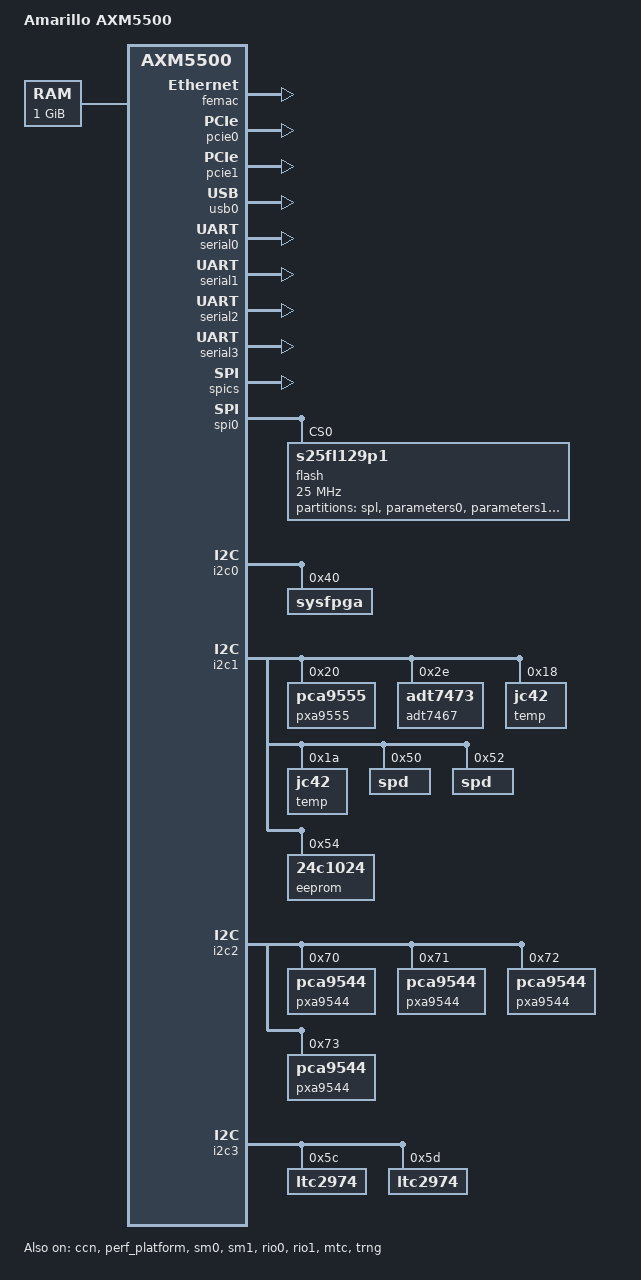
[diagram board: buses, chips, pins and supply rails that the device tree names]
/*
 * arch/arm/boot/dts/axm5508-amarillo.dts
 *
 * Copyright (C) 2013 LSI
 *
 * This program is free software; you can redistribute it and/or modify
 * it under the terms of the GNU General Public License as published by
 * the Free Software Foundation; either version 2 of the License, or
 * (at your option) any later version.
 */

/dts-v1/;

/memreserve/ 0x00000000 0x00400000;

/include/ "axm55xx.dtsi"
/include/ "axm5508-cpus.dtsi"

/ {
	model = "Amarillo AXM5500";
	compatible = "lsi,axm5500-amarillo", "lsi,axm5500";

	memory {
		device_type = "memory";
		reg = <0 0x00000000 0 0x40000000>;
	};
};

&femac {
	status = "okay";
	mdio-clock-offset = <0x1c>;
	mdio-clock-period = <0xf0>;
};

&ccn {
	status = "okay";
};

&perf_platform {
	status = "okay";
};

&sm0 {
	status = "okay";
};

&sm1 {
	status = "okay";
};

&pcie0 {
	status = "okay";
};

&pcie1 {
	status = "okay";
};

&rio0 {
	status = "okay";
};

&rio1 {
	status = "okay";
};

&usb0 {
	status = "okay";
};

&mtc {
	status = "okay";
};

&trng {
	status = "okay";
};

&serial0 {
	status = "okay";
};

&serial1 {
	status = "okay";
};

&serial2 {
	status = "okay";
};

&serial3 {
	status = "okay";
};

&gpio0 {
	status = "okay";
};

&gpio1 {
	status = "okay";
};

&spics {
	status = "okay";
};

&spi0 {
	status = "okay";

	flash@0 {
		#address-cells = <1>;
		#size-cells = <1>;
		compatible = "s25fl129p1";
		reg = <0x0>;
		spi-max-frequency = <25000000>;
		pl022,com-mode = <0>;

		partition@0 {
			label = "spl";
			reg = <0x0 0x40000>;
		};
		partition@40000 {
			label = "parameters0";
			reg = <0x40000 0x10000>;
		};
		partition@50000 {
			label = "parameters1";
			reg = <0x50000 0x10000>;
		};
		partition@60000 {
			label = "env0";
			reg = <0x60000 0x10000>;
		};
		partition@70000 {
			label = "env1";
			reg = <0x70000 0x10000>;
		};
		partition@100000 {
			label = "u-boot0";
			reg = <0x100000 0x200000>;
		};
		partition@300000 {
			label = "u-boot1";
			reg = <0x300000 0x200000>;
		};
	};
};

&i2c0 {
	status = "okay";

	sysfpga@40 {
		compatible = "sysfpga";
		reg = <0x40>;
	};
};

&i2c1 {
	status = "okay";

	pxa9555@20 {
		compatible = "pca9555";
		reg = <0x20>;
	};

	adt7467@2e {
		compatible = "adt7473";
		reg = <0x2e>;
	};

	temp@18 {
		compatible = "jc42";
		reg = <0x18>;
	};

	temp@1a {
		compatible = "jc42";
		reg = <0x1a>;
	};

	spd@50 {
		compatible = "spd";
		reg = <0x50>;
	};

	spd@52 {
		compatible = "spd";
		reg = <0x52>;
	};

	eeprom@54 {
		compatible = "24c1024";
		reg = <0x54>;
		pagesize = <128>;
	};
};

&i2c2 {
	status = "okay";

	pxa9544@70 {
		compatible = "pca9544";
		reg = <0x70>;
	};

	pxa9544@71 {
		compatible = "pca9544";
		reg = <0x71>;
	};

	pxa9544@72 {
		compatible = "pca9544";
		reg = <0x72>;
	};

	pxa9544@73 {
		compatible = "pca9544";
		reg = <0x73>;
	};
};

&i2c3 {
	status = "okay";

	ltc2974@5c {
		compatible = "ltc2974";
		reg = <0x5c>;
	};

	ltc2974@5d {
		compatible = "ltc2974";
		reg = <0x5d>;
	};
};
